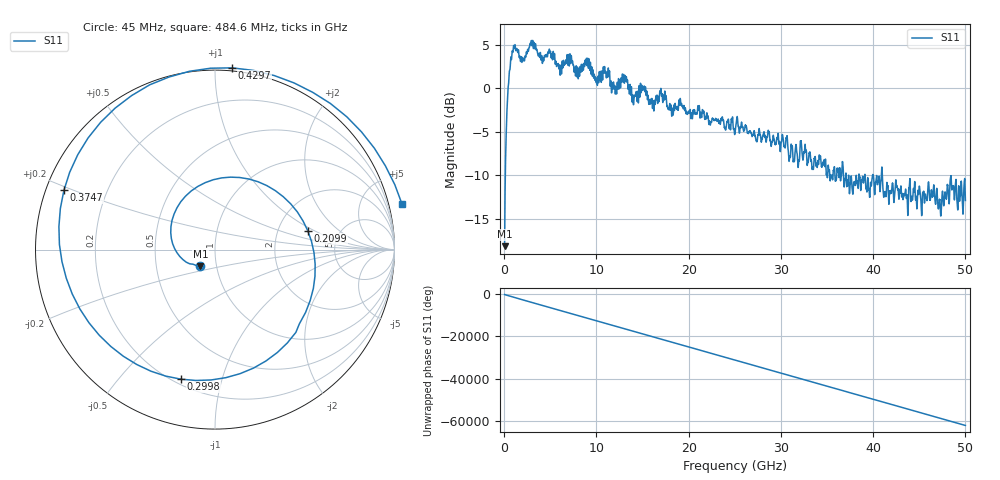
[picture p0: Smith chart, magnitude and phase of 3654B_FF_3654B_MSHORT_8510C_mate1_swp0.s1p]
!Created with skrf (http://scikit-rf.org).
# Hz S RI R 50.0
!freq ReS11 ImS11
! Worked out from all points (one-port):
!   10001 points, 45 MHz to 50 GHz, reference 50 ohm
!   lowest |S11| = -18.1 dB at 45 MHz (marker M1), VSWR 1.28, Z = 41.8 - j7.92 ohm
!   |S11| at or under -10 dB: 37.34 GHz to 38.45 GHz (1.106 GHz wide, 2.92 % of centre); 40 GHz to 40.89 GHz (890 MHz wide, 2.2 % of centre); 40.99 GHz to end of sweep (the widest 3 of 15)
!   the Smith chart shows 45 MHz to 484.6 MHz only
!   S11 on the Smith chart (normalised r, x): 45 MHz: 0.84, -0.16; 209.9 MHz: 2.96, +0.86; 299.8 MHz: 0.23, -0.74; 374.7 MHz: 0.05, +0.19; 429.7 MHz: -0.02, +1.10; 484.6 MHz: -2.32, +7.73
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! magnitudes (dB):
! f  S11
! 45 MHz  -18.1
! 209.9 MHz  -5.6
! 299.8 MHz  -2.5
! 374.7 MHz  -0.9
! 429.7 MHz  0.1
! 484.6 MHz  0.6
! 794.3 MHz  3.3
! 1.174 GHz  5.0
! 1.983 GHz  3.5
! 3.032 GHz  4.9
! 6.289 GHz  3.1
! 8.992 GHz  2.6
! 10.02 GHz  1.1
! 10.95 GHz  1.7
! 11.84 GHz  0.7
! 12.53 GHz  0.9
! 18.78 GHz  -2.1
! 25.02 GHz  -5.2
! 31.27 GHz  -7.3
! 32.32 GHz  -7.7
! 37.51 GHz  -11.0
! 40.77 GHz  -11.7
! 41.28 GHz  -11.9
! 43.76 GHz  -14.5
! 46.46 GHz  -12.4
! 47.21 GHz  -12.8
! 48.53 GHz  -11.6
! 50 GHz  -12.9
